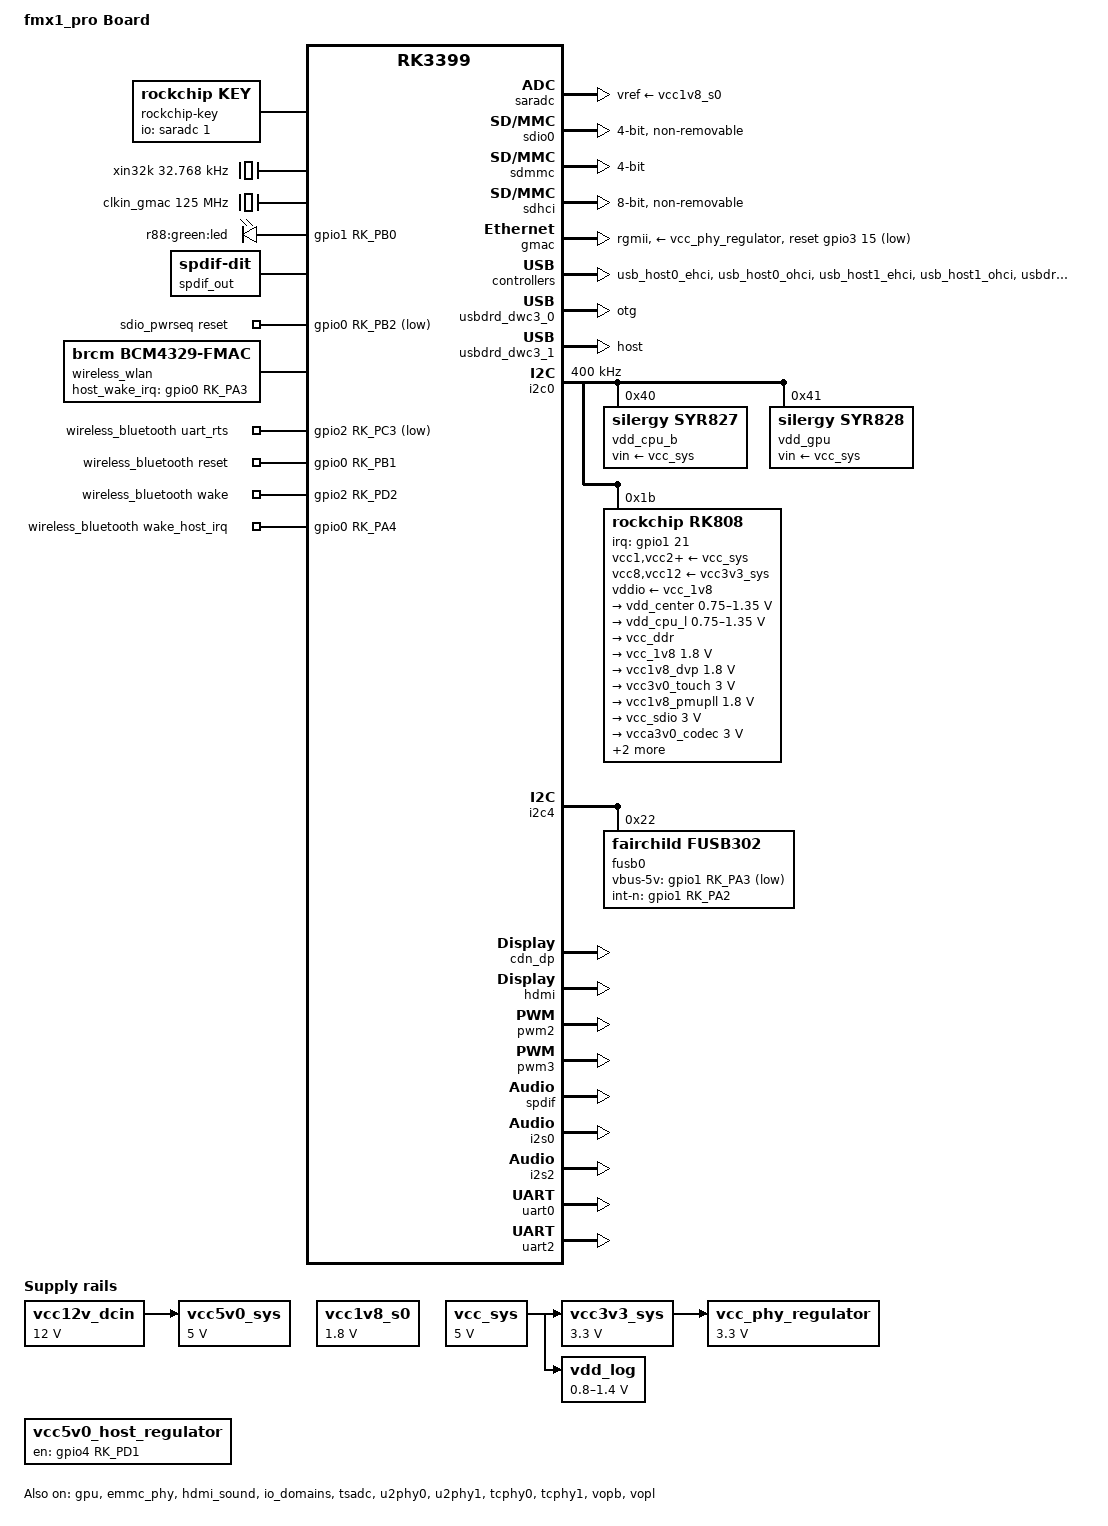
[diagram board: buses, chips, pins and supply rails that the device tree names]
// SPDX-License-Identifier: (GPL-2.0+ OR MIT)
/dts-v1/;

#include <dt-bindings/input/linux-event-codes.h>
#include <dt-bindings/leds/common.h>
#include <dt-bindings/pwm/pwm.h>
#include <dt-bindings/pinctrl/rockchip.h>
#include "rk3399.dtsi"
#include "rk3399-opp.dtsi"

// gpio0:0xac
// gpio1:0x2f
// gpio2:0xb7
// gpio3:0x17
// gpio4:0xba

// 0x01:GPIO_ACTIVE_LOW   0x00:GPIO_ACTIVE_HIGH

// RK_PA0-RK_PA7:0x00-0x07
// RK_PB0-RK_PB7:0x08-0x0f
// RK_PC0-RK_PC7:0x10-0x17
// RK_PD0-RK_PD7:0x18-0x1f

// #define RK_FUNC_GPIO    0
// #define RK_FUNC_1-7    1-7 

// pcfg-pull-none:0xa3
// pcfg-pull-up:0xa1

/ {
	model = "fmx1_pro Board";
	compatible = "rockchip,fmx1_pro", "rockchip,rk3399";

	aliases {
		mmc0 = &sdio0;
		mmc1 = &sdmmc;
		mmc2 = &sdhci;
	};

	chosen: chosen {
		stdout-path = "serial2:1500000n8";
	};

	ramoops: ramoops@110000 {
		compatible = "ramoops";
        reg = <0x00 0x110000 0x00 0xf0000>;
		record-size = <0x20000>;
		console-size = <0x80000>;
		ftrace-size = <0x00>;
		pmsg-size = <0x50000>;
	};

    fiq_debugger: fiq-debugger {
		compatible = "rockchip,fiq-debugger";
		rockchip,serial-id = <2>;
        rockchip,signal-irq = <182>;
		rockchip,wake-irq = <0>;
		rockchip,irq-mode-enable = <1>;
		rockchip,baudrate = <1500000>; 
		pinctrl-names = "default";
		pinctrl-0 = <&uart2c_xfer>;
	};

	reserved_memory: reserved-memory {
		#address-cells = <2>;
		#size-cells = <2>;
		ranges;

		cma: cma {
			compatible = "shared-dma-pool";
			reusable;
			size = <0x00 0x8000000>;
			linux,cma-default;
		};
	};

    test-power {
		status = "okay";
	};

	ion {
		compatible = "rockchip,ion";
		#address-cells = <1>;
		#size-cells = <0>;

		cma-heap {
			reg = <0x00 0x2000000>;
		};

		system-heap {
		};
	};

	rockchip-key {
		compatible = "rockchip,key";
		status = "okay";
		io-channels = <&saradc 1>;

		vol-up-key {
			linux,code = <115>;
			label = "volume up";
			rockchip,adc_value = <1>;
		};

		vol-down-key {
			linux,code = <114>;
			label = "volume down";
			rockchip,adc_value = <170>;
		};

		power-key {
			gpios = <&gpio0 RK_PA5 GPIO_ACTIVE_LOW>;
			linux,code = <116>;
			label = "power";
			gpio-key,wakeup;
		};

		menu-key {
			linux,code = <59>;
			label = "menu";
			rockchip,adc_value = <746>;
		};

		home-key {
			linux,code = <102>;
			label = "home";
			rockchip,adc_value = <355>;
		};

		back-key {
			linux,code = <158>;
			label = "back";
			rockchip,adc_value = <560>;
		};

		camera-key {
			linux,code = <212>;
			label = "camera";
			rockchip,adc_value = <450>;
		};
	};

	xin32k: xin32k {
		compatible = "fixed-clock";
		clock-frequency = <32768>;
		clock-output-names = "xin32k";
		#clock-cells = <0>;
	};

    clkin_gmac: external-gmac-clock {
		compatible = "fixed-clock";
		clock-frequency = <125000000>;
		clock-output-names = "clkin_gmac";
		#clock-cells = <0>;
	};

    vcc12v_dcin: vcc12v-dcin { // checked
		compatible = "regulator-fixed";
		regulator-name = "vcc12v_dcin";
		regulator-always-on;
		regulator-boot-on;
		regulator-min-microvolt = <12000000>;
		regulator-max-microvolt = <12000000>;
	};

    vcc5v0_sys: vcc5v0-sys { // checked
		compatible = "regulator-fixed";
		regulator-name = "vcc5v0_sys";
		regulator-always-on;
		regulator-boot-on;
		regulator-min-microvolt = <5000000>;
		regulator-max-microvolt = <5000000>;
		vin-supply = <&vcc12v_dcin>;
	};

    vcc1v8_s0: vcc1v8-s0 {
		compatible = "regulator-fixed";
		regulator-name = "vcc1v8_s0";
		regulator-min-microvolt = <1800000>;
		regulator-max-microvolt = <1800000>;
		regulator-always-on;
	};

	vcc_sys: vcc-sys {
		compatible = "regulator-fixed";
		regulator-name = "vcc_sys";
		regulator-min-microvolt = <5000000>;
		regulator-max-microvolt = <5000000>;
		regulator-always-on;
	};

	vcc_phy_regulator: vcc-phy-regulator {
		compatible = "regulator-fixed";
		regulator-name = "vcc_phy";
        regulator-min-microvolt = <3300000>;
		regulator-max-microvolt = <3300000>;
		regulator-always-on;
		regulator-boot-on;
        vin-supply = <&vcc3v3_sys>;
	};

	vcc3v3_sys: vcc3v3-sys {
		compatible = "regulator-fixed";
		regulator-name = "vcc3v3_sys";
		regulator-min-microvolt = <3300000>;
		regulator-max-microvolt = <3300000>;
		regulator-always-on;
		regulator-boot-on;
		vin-supply = <&vcc_sys>;
	};

	vcc5v0_host_regulator: vcc5v0-host-regulator {
		compatible = "regulator-fixed";
		enable-active-high;
		gpio = <&gpio4 RK_PD1 GPIO_ACTIVE_HIGH>;
		pinctrl-names = "default";
		pinctrl-0 = <&host_vbus_drv>;
		regulator-name = "vcc5v0_host";
	};

	vdd_log: vdd-log {
		compatible = "pwm-regulator";
		pwms = <&pwm2 0 25000 0>;
		regulator-name = "vdd_log";
		regulator-min-microvolt = <800000>;
		regulator-max-microvolt = <1400000>;
		regulator-always-on;
		regulator-boot-on;
		rockchip,pwm_id = <2>;
		rockchip,pwm_voltage = <900000>;
		vin-supply = <&vcc_sys>;
	};

    gpio-leds {
		compatible = "gpio-leds";

		work {
			gpios = <&gpio1 RK_PB0 GPIO_ACTIVE_HIGH>;
			label = "r88:green:led";
			pinctrl-names = "default";
			pinctrl-0 = <&sys_led_pin>;
		};
	};

    spdif_sound: spdif-sound {
		status = "okay";
		compatible = "simple-audio-card";
		simple-audio-card,name = "ROCKCHIP,SPDIF";

		simple-audio-card,cpu {
			sound-dai = <&spdif>;
		};

		simple-audio-card,codec {
			sound-dai = <&spdif_out>;
		};
	};

	spdif_out: spdif-out {
		status = "okay";
		compatible = "linux,spdif-dit";
		#sound-dai-cells = <0>;
	};

    sdio_pwrseq: sdio-pwrseq {
		compatible = "mmc-pwrseq-simple";
		clocks = <&rk808 1>;
		clock-names = "ext_clock";
		pinctrl-names = "default";
		pinctrl-0 = <&wifi_enable_h>;
		reset-gpios = <&gpio0 RK_PB2 GPIO_ACTIVE_LOW>; // sch
	};

    wireless_wlan: wireless-wlan {
		compatible = "brcm,bcm4329-fmac";
		rockchip,grf = <&grf>;
		wifi_chip_type = "ap6354";
		sdio_vref = <1800>;
		WIFI,host_wake_irq = <&gpio0 RK_PA3 GPIO_ACTIVE_HIGH>;
		status = "okay";
	};

	wireless_bluetooth: wireless-bluetooth {
		compatible = "bluetooth-platdata";
		clocks = <&rk808 1>;
		clock-names = "ext_clock";
		uart_rts_gpios = <&gpio2 RK_PC3 GPIO_ACTIVE_LOW>;
		pinctrl-names = "default","rts_gpio";
		pinctrl-0 = <&uart0_rts>;
		pinctrl-1 = <&uart0_gpios>;
		BT,reset_gpio = <&gpio0 RK_PB1 GPIO_ACTIVE_HIGH>;
		BT,wake_gpio = <&gpio2 RK_PD2 GPIO_ACTIVE_HIGH>;
		BT,wake_host_irq = <&gpio0 RK_PA4 GPIO_ACTIVE_HIGH>;
		status = "okay";
	};
};

&cpu_l0 {
	cpu-supply = <&vdd_cpu_l>;
};

&cpu_l1 {
	cpu-supply = <&vdd_cpu_l>;
};

&cpu_l2 {
	cpu-supply = <&vdd_cpu_l>;
};

&cpu_l3 {
	cpu-supply = <&vdd_cpu_l>;
};

&cpu_b0 {
	cpu-supply = <&vdd_cpu_b>;
};

&cpu_b1 {
	cpu-supply = <&vdd_cpu_b>;
};

&gpu {
	status = "okay";
	mali-supply = <&vdd_gpu>;
};

&saradc {
	vref-supply = <&vcc1v8_s0>;
	status = "okay";
};

&emmc_phy {
	status = "okay";
};

&sdio0 {
	clock-frequency = <100000000>;
	clock-freq-min-max = <200000 100000000>;
	supports-sdio;
	bus-width = <4>;
	disable-wp;
	cap-sd-highspeed;
	cap-sdio-irq;
	keep-power-in-suspend;
	mmc-pwrseq = <&sdio_pwrseq>;
	non-removable;
	num-slots = <1>;
	pinctrl-names = "default";
	pinctrl-0 = <&sdio0_bus4 &sdio0_cmd &sdio0_clk>;
	sd-uhs-sdr104;
	status = "okay";
};

&sdmmc {
	clock-frequency = <100000000>;
	clock-freq-min-max = <100000 100000000>;
	supports-sd;
	bus-width = <4>;
	cap-mmc-highspeed;
	cap-sd-highspeed;
	disable-wp;
	num-slots = <1>;
	//sd-uhs-sdr104;
	vqmmc-supply = <&vcc_sdio>;
	pinctrl-names = "default";
	pinctrl-0 = <&sdmmc_clk &sdmmc_cmd &sdmmc_cd &sdmmc_bus4>;
	card-detect-delay = <800>;
	status = "okay";
};

&sdhci {
	bus-width = <8>;
	mmc-hs400-1_8v;
	supports-emmc;
	non-removable;
	mmc-hs400-enhanced-strobe;
	status = "okay";
};

&hdmi_sound {
	status = "okay";
};

&gmac {
	phy-supply = <&vcc_phy_regulator>;
	phy-mode = "rgmii";
	clock_in_out = "input";
	snps,reset-gpio = <&gpio3 15 GPIO_ACTIVE_LOW>;
	snps,reset-active-low;
	snps,reset-delays-us = <0 10000 50000>;
	assigned-clocks = <&cru SCLK_RMII_SRC>;
	assigned-clock-parents = <&clkin_gmac>;
	pinctrl-names = "default", "sleep";
	pinctrl-0 = <&rgmii_pins>;
	pinctrl-1 = <&rgmii_sleep_pins>;
	tx_delay = <0x28>;
	rx_delay = <0x11>;
	status = "okay";
};

&io_domains {
	status = "okay";
    rockchip,grf = <&grf>;
	bt656-supply = <&vcc1v8_s0>;
	audio-supply = <&vcc1v8_s0>;
	sdmmc-supply = <&vcc_sdio>;
	gpio1830-supply = <&vcc_3v0>;
};

&pmu_io_domains {
	status = "okay";
    rockchip,grf = <&grf>;
	pmu1830-supply = <&vcc_1v8>;
};

&usb_host0_ehci {
	status = "okay";
};

&usb_host0_ohci {
	status = "okay";
};

&usb_host1_ehci {
	status = "okay";
};

&usb_host1_ohci {
	status = "okay";
};

&usbdrd3_0 {
	extcon = <&fusb0>;
	status = "okay";
};

&usbdrd_dwc3_0 {
	dr_mode = "otg";
	status = "okay";
};

&usbdrd3_1 {
	status = "okay";
};


&usbdrd_dwc3_1 {
	status = "okay";
	dr_mode = "host";
};

&tsadc {
	/* tshut mode 0:CRU 1:GPIO */
	rockchip,hw-tshut-mode = <1>;
	/* tshut polarity 0:LOW 1:HIGH */
	rockchip,hw-tshut-polarity = <1>;
	rockchip,hw-tshut-temp = <120000>;
	status = "okay";
};

&i2c0 {
	status = "okay";
	clock-frequency = <400000>;
	i2c-scl-rising-time-ns = <168>;
	i2c-scl-falling-time-ns = <4>;

    vdd_cpu_b: syr827@40 {
		compatible = "silergy,syr827";
		reg = <0x40>;
        pinctrl-names = "default";
		pinctrl-0 = <&vsel1_pin>;
		regulator-compatible = "fan53555-reg";
		regulator-name = "vdd_cpu_b";
		regulator-min-microvolt = <712500>;
		regulator-max-microvolt = <1500000>;
		regulator-ramp-delay = <1000>;
		fcs,suspend-voltage-selector = <0>;
		regulator-always-on;
		regulator-boot-on;
		vin-supply = <&vcc_sys>;

		regulator-state-mem {
				egulator-off-in-suspend;
		};
	};

	vdd_gpu: syr828@41 {
		compatible = "silergy,syr828";
		reg = <0x41>;
        pinctrl-names = "default";
		pinctrl-0 = <&vsel2_pin>;
		regulator-compatible = "fan53555-reg";
		regulator-name = "vdd_gpu";
		regulator-min-microvolt = <712500>;
		regulator-max-microvolt = <1500000>;
		regulator-ramp-delay = <1000>;
		fcs,suspend-voltage-selector = <1>;
		regulator-always-on;
		regulator-boot-on;
		vin-supply = <&vcc_sys>;
		regulator-initial-mode = <1>;

		regulator-state-mem {
			regulator-off-in-suspend;
		};
	};

    rk808: pmic@1b { // checked
		compatible = "rockchip,rk808";
		reg = <0x1b>;
		interrupt-parent = <&gpio1>;
		interrupts = <21 IRQ_TYPE_LEVEL_LOW>;
		#clock-cells = <1>;
		clock-output-names = "xin32k", "rk808-clkout2";
		pinctrl-names = "default";
		pinctrl-0 = <&pmic_int_l>;
		rockchip,system-power-controller;
		wakeup-source;

		vcc1-supply = <&vcc_sys>;
		vcc2-supply = <&vcc_sys>;
		vcc3-supply = <&vcc_sys>;
		vcc4-supply = <&vcc_sys>;
		vcc6-supply = <&vcc_sys>;
		vcc7-supply = <&vcc_sys>;
		vcc8-supply = <&vcc3v3_sys>;
		vcc9-supply = <&vcc_sys>;
		vcc10-supply = <&vcc_sys>;
		vcc11-supply = <&vcc_sys>;
		vcc12-supply = <&vcc3v3_sys>;
		vddio-supply = <&vcc_1v8>;

		regulators {
			vdd_center: DCDC_REG1 {
				regulator-name = "vdd_center";
				regulator-always-on;
				regulator-boot-on;
				regulator-min-microvolt = <750000>;
				regulator-max-microvolt = <1350000>;
				regulator-ramp-delay = <6001>;
				regulator-state-mem {
					regulator-off-in-suspend;
				};
			};

			vdd_cpu_l: DCDC_REG2 {
				regulator-name = "vdd_cpu_l";
				regulator-always-on;
				regulator-boot-on;
				regulator-min-microvolt = <750000>;
				regulator-max-microvolt = <1350000>;
				regulator-ramp-delay = <6001>;
				regulator-state-mem {
					regulator-off-in-suspend;
				};
			};

			vcc_ddr: DCDC_REG3 {
				regulator-name = "vcc_ddr";
				regulator-always-on;
				regulator-boot-on;
				regulator-state-mem {
					regulator-on-in-suspend;
				};
			};

			vcc_1v8: DCDC_REG4 {
				regulator-name = "vcc_1v8";
				regulator-always-on;
				regulator-boot-on;
				regulator-min-microvolt = <1800000>;
				regulator-max-microvolt = <1800000>;
				regulator-state-mem {
					regulator-on-in-suspend;
					regulator-suspend-microvolt = <1800000>;
				};
			};

			vcc1v8_dvp: LDO_REG1 {
				regulator-name = "vcc1v8_dvp";
				regulator-always-on;
				regulator-boot-on;
				regulator-min-microvolt = <1800000>;
				regulator-max-microvolt = <1800000>;
				regulator-state-mem {
					regulator-off-in-suspend;
				};
			};

			vcc3v0_touch: LDO_REG2 {
				regulator-name = "vcc3v0_touch";
				regulator-always-on;
				regulator-boot-on;
				regulator-min-microvolt = <3000000>;
				regulator-max-microvolt = <3000000>;
				regulator-state-mem {
					regulator-off-in-suspend;
				};
			};

			vcc1v8_pmupll: LDO_REG3 {
				regulator-name = "vcc1v8_pmupll";
				regulator-always-on;
				regulator-boot-on;
				regulator-min-microvolt = <1800000>;
				regulator-max-microvolt = <1800000>;
				regulator-state-mem {
					regulator-on-in-suspend;
					regulator-suspend-microvolt = <1800000>;
				};
			};

			vcc_sdio: LDO_REG4 {
				regulator-name = "vcc_sdio";
				regulator-always-on;
				regulator-boot-on;
				regulator-min-microvolt = <3000000>;
				regulator-max-microvolt = <3000000>;
				regulator-state-mem {
					regulator-on-in-suspend;
					regulator-suspend-microvolt = <3000000>;
				};
			};

			vcca3v0_codec: LDO_REG5 {
				regulator-name = "vcca3v0_codec";
				regulator-always-on;
				regulator-boot-on;
				regulator-min-microvolt = <3000000>;
				regulator-max-microvolt = <3000000>;
				regulator-state-mem {
					regulator-off-in-suspend;
				};
			};

			vcc_1v5: LDO_REG6 {
				regulator-name = "vcc_1v5";
				regulator-always-on;
				regulator-boot-on;
				regulator-min-microvolt = <1500000>;
				regulator-max-microvolt = <1500000>;
				regulator-state-mem {
					regulator-on-in-suspend;
					regulator-suspend-microvolt = <1500000>;
				};
			};

			vcca1v8_codec: LDO_REG7 {
				regulator-name = "vcca1v8_codec";
				regulator-always-on;
				regulator-boot-on;
				regulator-min-microvolt = <1800000>;
				regulator-max-microvolt = <1800000>;
				regulator-state-mem {
					regulator-off-in-suspend;
				};
			};

			vcc_3v0: LDO_REG8 {
				regulator-name = "vcc_3v0";
				regulator-always-on;
				regulator-boot-on;
				regulator-min-microvolt = <3000000>;
				regulator-max-microvolt = <3000000>;
				regulator-state-mem {
					regulator-on-in-suspend;
					regulator-suspend-microvolt = <3000000>;
				};
			};

			vcc3v3_s3: SWITCH_REG1 {
				regulator-name = "vcc3v3_s3";
				regulator-always-on;
				regulator-boot-on;
				regulator-state-mem {
					regulator-on-in-suspend;
					regulator-suspend-microvolt = <3300000>;
				};
			};

			vcc3v3_s0: SWITCH_REG2 {
				regulator-name = "vcc3v3_s0";
				regulator-always-on;
				regulator-boot-on;
				regulator-state-mem {
					regulator-off-in-suspend;
				};
			};
		};
	};
};

&i2c4 {
    status = "okay";
    fusb0: fusb30x@22 {
		compatible = "fairchild,fusb302";
		reg = <0x22>;
		pinctrl-names = "default";
		pinctrl-0 = <&fusb0_int>;
		vbus-5v-gpios = <&gpio1 RK_PA3 GPIO_ACTIVE_LOW>;
		int-n-gpios = <&gpio1 RK_PA2 GPIO_ACTIVE_HIGH>;
		status = "okay";
	};
};

&cdn_dp {
	status = "okay";
	extcon = <&fusb0>;
};

&hdmi_in_vopl {
	status = "disabled";
};

&dp_in_vopb {
	status = "disabled";
};

// &route_hdmi {
// 	status = "okay";
// };

&hdmi {
	pinctrl-names = "default";
	pinctrl-0 = <&hdmi_i2c_xfer>, <&hdmi_cec>;
};

&hdmi {
	status = "okay";
	rockchip,phy-table =
		<74250000 0x8009 0x0004 0x0272>,
		<165000000 0x802b 0x0004 0x0209>,
		<297000000 0x8039 0x0005 0x028d>,
		<594000000 0x8039 0x0000 0x019d>,
		<000000000 0x0000 0x0000 0x0000>;
};

// &hdmi_dp_sound {
// 	status = "okay";
// };

&pwm2 {
	status = "okay";
	pinctrl-names = "active";
	pinctrl-0 = <&pwm2_pin_pull_down>;
};

&pwm3 {
	status = "okay";

	pinctrl-names = "default";
	pinctrl-0 = <&pwm3a_pin>;
	interrupts = <GIC_SPI 61 IRQ_TYPE_LEVEL_HIGH 0>;
	compatible = "rockchip,remotectl-pwm";
	remote_pwm_id = <3>;
	handle_cpu_id = <1>;
	remote_support_psci = <1>;

	ir_key1 {
		rockchip,usercode = <0x4040>;
		rockchip,key_table =
			<0xf2	KEY_REPLY>,
			<0xba	KEY_BACK>,
			<0xf4	KEY_UP>,
			<0xf1	KEY_DOWN>,
			<0xef	KEY_LEFT>,
			<0xee	KEY_RIGHT>,
			<0xbd	KEY_HOME>,
			<0xea	KEY_VOLUMEUP>,
			<0xe3	KEY_VOLUMEDOWN>,
			<0xe2	KEY_SEARCH>,
			<0xb2	KEY_POWER>,
			<0xbc	KEY_MUTE>,
			<0xec	KEY_MENU>,
			<0xbf	0x190>,
			<0xe0	0x191>,
			<0xe1	0x192>,
			<0xe9	183>,
			<0xe6	248>,
			<0xe8	185>,
			<0xe7	186>,
			<0xf0	388>,
			<0xbe	0x175>;
	};

	ir_key2 {
		rockchip,usercode = <0xff00>;
		rockchip,key_table =
			<0xf9	KEY_HOME>,
			<0xbf	KEY_BACK>,
			<0xfb	KEY_MENU>,
			<0xaa	KEY_REPLY>,
			<0xb9	KEY_UP>,
			<0xe9	KEY_DOWN>,
			<0xb8	KEY_LEFT>,
			<0xea	KEY_RIGHT>,
			<0xeb	KEY_VOLUMEDOWN>,
			<0xef	KEY_VOLUMEUP>,
			<0xf7	KEY_MUTE>,
			<0xe7	KEY_POWER>,
			<0xfc	KEY_POWER>,
			<0xa9	KEY_VOLUMEDOWN>,
			<0xa8	KEY_VOLUMEDOWN>,
			<0xe0	KEY_VOLUMEDOWN>,
			<0xa5	KEY_VOLUMEDOWN>,
			<0xab	183>,
			<0xb7	388>,
			<0xe8	388>,
			<0xf8	184>,
			<0xaf	185>,
			<0xed	KEY_VOLUMEDOWN>,
			<0xee	186>,
			<0xb3	KEY_VOLUMEDOWN>,
			<0xf1	KEY_VOLUMEDOWN>,
			<0xf2	KEY_VOLUMEDOWN>,
			<0xf3	KEY_SEARCH>,
			<0xb4	KEY_VOLUMEDOWN>,
			<0xbe	KEY_SEARCH>;
	};

	ir_key3 {
		rockchip,usercode = <0x1dcc>;
		rockchip,key_table =
			<0xee	KEY_REPLY>,
			<0xf0	KEY_BACK>,
			<0xf8	KEY_UP>,
			<0xbb	KEY_DOWN>,
			<0xef	KEY_LEFT>,
			<0xed	KEY_RIGHT>,
			<0xfc	KEY_HOME>,
			<0xf1	KEY_VOLUMEUP>,
			<0xfd	KEY_VOLUMEDOWN>,
			<0xb7	KEY_SEARCH>,
			<0xff	KEY_POWER>,
			<0xf3	KEY_MUTE>,
			<0xbf	KEY_MENU>,
			<0xf9	0x191>,
			<0xf5	0x192>,
			<0xb3	388>,
			<0xbe	KEY_1>,
			<0xba	KEY_2>,
			<0xb2	KEY_3>,
			<0xbd	KEY_4>,
			<0xf9	KEY_5>,
			<0xb1	KEY_6>,
			<0xfc	KEY_7>,
			<0xf8	KEY_8>,
			<0xb0	KEY_9>,
			<0xb6	KEY_0>,
			<0xb5	KEY_BACKSPACE>;
	};
};

&u2phy0 {
	status = "okay";
	extcon = <&fusb0>;

	u2phy0_host: host-port {
		status = "okay";
		phy-supply = <&vcc5v0_host_regulator>;
	};

    u2phy0_otg_port: host-otg {
		status = "okay";
	};
};

&u2phy1 {
	status = "okay";

	u2phy1_host: host-port {
		status = "okay";
		phy-supply = <&vcc5v0_host_regulator>;
	};

    u2phy1_otg_port: host-otg {
		status = "okay";
	};
};

&tcphy0 {
	extcon = <&fusb0>;
	status = "okay";
};

&tcphy1 {
	status = "okay";
};

&spdif {
	pinctrl-0 = <&spdif_bus_1>;
	status = "okay";
	#sound-dai-cells = <0>;
};

&i2s0 {
	status = "okay";
	rockchip,i2s-broken-burst-len;
	rockchip,playback-channels = <8>;
	rockchip,capture-channels = <8>;
	#sound-dai-cells = <0>;
};

&i2s1 {
	status = "disabled";
};

&i2s2 {
	#sound-dai-cells = <0>;
	status = "okay";
};

&uart0 {
	pinctrl-names = "default";
	pinctrl-0 = <&uart0_xfer &uart0_cts &uart0_rts>;
	status = "okay";
};

&uart1 {
	pinctrl-0 = <&uart1_xfer>;
	status = "disabled";
};

&uart2 {
	pinctrl-names = "default";
	pinctrl-0 = <&uart2c_xfer>;
	status = "okay";
};

&pinctrl {
	sdio0 {
		sdio0-bus1 {
			rockchip,pins = <2 20 1 &pcfg_pull_up_20ma>;
		};

		sdio0-bus4 {
			rockchip,pins =
				<2 20 1 &pcfg_pull_up_20ma>,
				<2 21 1 &pcfg_pull_up_20ma>,
				<2 22 1 &pcfg_pull_up_20ma>,
				<2 23 1 &pcfg_pull_up_20ma>;
		};

		sdio0-cmd {
			rockchip,pins = <2 24 1 &pcfg_pull_up_20ma>;
		};

		sdio0-clk {
			rockchip,pins = <2 25 1 &pcfg_pull_up_20ma>;
		};
		
	};

	sdmmc {
		sdmmc_bus1: sdmmc-bus1 {
			rockchip,pins =
				<4 8 1 &pcfg_pull_up_8ma>;
		};

		sdmmc_bus4: sdmmc-bus4 {
			rockchip,pins =
				<4 8 1 &pcfg_pull_up_8ma>,
				<4 9 1 &pcfg_pull_up_8ma>,
				<4 10 1 &pcfg_pull_up_8ma>,
				<4 11 1 &pcfg_pull_up_8ma>;
		};

		sdmmc_clk: sdmmc-clk {
			rockchip,pins =
				<4 12 1 &pcfg_pull_none_18ma>;
		};

		sdmmc_cmd: sdmmc-cmd {
			rockchip,pins =
				<4 13 1 &pcfg_pull_up_8ma>;
		};
	};

	leds {
		sys_led_pin: sys-led-pin {
			rockchip,pins = <1 RK_PB0 RK_FUNC_GPIO &pcfg_pull_none>; // sch
		};
	};

    sdio-pwrseq {
		wifi_enable_h: wifi-enable-h {
			rockchip,pins = <0 RK_PB2 RK_FUNC_GPIO &pcfg_pull_none>;
		};
	};

    wireless-bluetooth {
		uart0_gpios: uart0-gpios {
			rockchip,pins = <2 RK_PC3 RK_FUNC_GPIO &pcfg_pull_none>;
		};
	};

    usb2 {
        host_vbus_drv: host-vbus-drv {
			rockchip,pins = <4 RK_PD1 RK_FUNC_GPIO &pcfg_pull_none>;
		};
	};

    pmic {
		pmic_int_l: pmic-int-l {
			rockchip,pins = <1 RK_PC5 RK_FUNC_GPIO &pcfg_pull_up>;
		};

        vsel1_pin: vsel1-pin {
			rockchip,pins = <1 RK_PC1 RK_FUNC_GPIO &pcfg_pull_down>; // sch
		};

		vsel2_pin: vsel2-pin {
			rockchip,pins = <1 RK_PB6 RK_FUNC_GPIO &pcfg_pull_down>; // sch
		};
	};

    fusb30x {
		fusb0_int: fusb0-int {
			rockchip,pins = <1 RK_PA2 RK_FUNC_GPIO &pcfg_pull_up>;
		};
	};

    gmac {
		rgmii_sleep_pins: rgmii-sleep-pins {
			rockchip,pins =<3 RK_PB7 RK_FUNC_GPIO &pcfg_output_low>; // sch
		};
	};
};

&vopb {
	assigned-clocks = <&cru DCLK_VOP0_DIV>;
	assigned-clock-parents = <&cru PLL_VPLL>;
	status = "okay";
};

&vopb_mmu {
	status = "okay";
};

&vopl {
	assigned-clocks = <&cru DCLK_VOP1_DIV>;
	assigned-clock-parents = <&cru PLL_CPLL>;
	status = "okay";
};

&vopl_mmu {
	status = "okay";
};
